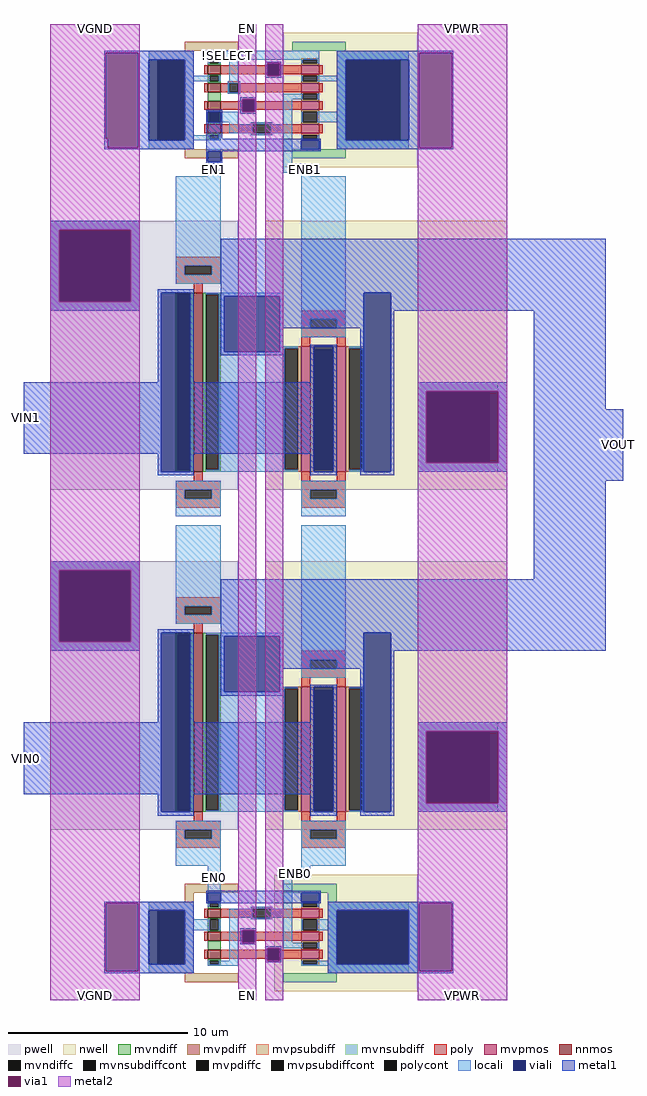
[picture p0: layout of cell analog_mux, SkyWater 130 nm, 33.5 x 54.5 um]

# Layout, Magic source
magic
tech sky130A
<< nwell >>
rect 1400 1950 2150 2700
rect 1350 -2650 2150 -2000
<< nnmos >>
rect 980 2470 1050 2520
rect 980 2370 1050 2420
rect 980 2270 1050 2320
rect 980 2140 1050 2190
rect 980 -2240 1050 -2190
rect 980 -2370 1050 -2320
rect 980 -2470 1050 -2420
<< mvpmos >>
rect 1500 2470 1600 2520
rect 1500 2370 1600 2420
rect 1500 2270 1600 2320
rect 1500 2140 1600 2190
rect 1500 -2240 1600 -2190
rect 1500 -2370 1600 -2320
rect 1500 -2470 1600 -2420
<< mvndiff >>
rect 980 2550 1050 2560
rect 980 2530 990 2550
rect 1040 2530 1050 2550
rect 980 2520 1050 2530
rect 980 2460 1050 2470
rect 980 2430 990 2460
rect 1040 2430 1050 2460
rect 980 2420 1050 2430
rect 980 2320 1050 2370
rect 980 2260 1050 2270
rect 980 2200 990 2260
rect 1040 2200 1050 2260
rect 980 2190 1050 2200
rect 980 2130 1050 2140
rect 980 2110 990 2130
rect 1040 2110 1050 2130
rect 980 2100 1050 2110
rect 980 -2160 1050 -2150
rect 980 -2180 990 -2160
rect 1040 -2180 1050 -2160
rect 980 -2190 1050 -2180
rect 980 -2250 1050 -2240
rect 980 -2310 990 -2250
rect 1040 -2310 1050 -2250
rect 980 -2320 1050 -2310
rect 980 -2420 1050 -2370
rect 980 -2480 1050 -2470
rect 980 -2500 990 -2480
rect 1040 -2500 1050 -2480
rect 980 -2510 1050 -2500
<< mvpdiff >>
rect 1500 2550 1600 2560
rect 1500 2530 1510 2550
rect 1590 2530 1600 2550
rect 1500 2520 1600 2530
rect 1500 2460 1600 2470
rect 1500 2430 1510 2460
rect 1590 2430 1600 2460
rect 1500 2420 1600 2430
rect 1500 2360 1600 2370
rect 1500 2330 1510 2360
rect 1590 2330 1600 2360
rect 1500 2320 1600 2330
rect 1500 2260 1600 2270
rect 1500 2200 1510 2260
rect 1590 2200 1600 2260
rect 1500 2190 1600 2200
rect 1500 2130 1600 2140
rect 1500 2110 1510 2130
rect 1590 2110 1600 2130
rect 1500 2100 1600 2110
rect 1500 -2160 1600 -2150
rect 1500 -2180 1510 -2160
rect 1590 -2180 1600 -2160
rect 1500 -2190 1600 -2180
rect 1500 -2250 1600 -2240
rect 1500 -2310 1510 -2250
rect 1590 -2310 1600 -2250
rect 1500 -2320 1600 -2310
rect 1500 -2380 1600 -2370
rect 1500 -2410 1510 -2380
rect 1590 -2410 1600 -2380
rect 1500 -2420 1600 -2410
rect 1500 -2480 1600 -2470
rect 1500 -2500 1510 -2480
rect 1590 -2500 1600 -2480
rect 1500 -2510 1600 -2500
<< mvndiffc >>
rect 990 2530 1040 2550
rect 990 2430 1040 2460
rect 990 2200 1040 2260
rect 990 2110 1040 2130
rect 990 -2180 1040 -2160
rect 990 -2310 1040 -2250
rect 990 -2500 1040 -2480
<< mvpdiffc >>
rect 1510 2530 1590 2550
rect 1510 2430 1590 2460
rect 1510 2330 1590 2360
rect 1510 2200 1590 2260
rect 1510 2110 1590 2130
rect 1510 -2180 1590 -2160
rect 1510 -2310 1590 -2250
rect 1510 -2410 1590 -2380
rect 1510 -2500 1590 -2480
<< mvpsubdiff >>
rect 850 2600 1150 2650
rect 650 2550 900 2600
rect 650 2100 700 2550
rect 850 2100 900 2550
rect 650 2050 900 2100
rect 850 2000 1150 2050
rect 850 -2100 1150 -2050
rect 850 -2150 900 -2100
rect 650 -2200 900 -2150
rect 650 -2500 700 -2200
rect 850 -2500 900 -2200
rect 650 -2550 900 -2500
rect 850 -2600 1150 -2550
<< mvnsubdiff >>
rect 1450 2600 1750 2650
rect 1700 2550 2100 2600
rect 1700 2100 1750 2550
rect 2050 2100 2100 2550
rect 1700 2050 2100 2100
rect 1450 2000 1750 2050
rect 1400 -2100 1700 -2050
rect 1650 -2150 1700 -2100
rect 1650 -2200 2100 -2150
rect 1650 -2500 1700 -2200
rect 1650 -2550 2100 -2500
rect 1400 -2600 1700 -2550
<< mvpsubdiffcont >>
rect 700 2100 850 2550
rect 700 -2500 850 -2200
<< mvnsubdiffcont >>
rect 1750 2100 2050 2550
rect 1700 -2500 2100 -2200
<< poly >>
rect 1310 2520 1380 2530
rect 960 2470 980 2520
rect 1050 2470 1320 2520
rect 1370 2470 1500 2520
rect 1600 2470 1620 2520
rect 1310 2460 1380 2470
rect 1090 2420 1160 2430
rect 960 2370 980 2420
rect 1050 2370 1100 2420
rect 1150 2370 1500 2420
rect 1600 2370 1620 2420
rect 1090 2360 1160 2370
rect 1170 2320 1240 2330
rect 960 2270 980 2320
rect 1050 2270 1180 2320
rect 1230 2270 1500 2320
rect 1600 2270 1620 2320
rect 1170 2260 1240 2270
rect 1220 2191 1340 2200
rect 1220 2190 1231 2191
rect 960 2140 980 2190
rect 1050 2141 1231 2190
rect 1331 2190 1340 2191
rect 1331 2141 1500 2190
rect 1050 2140 1500 2141
rect 1600 2140 1620 2190
rect 1220 2130 1340 2140
rect 1220 -2190 1340 -2180
rect 960 -2240 980 -2190
rect 1050 -2240 1230 -2190
rect 1330 -2240 1500 -2190
rect 1600 -2240 1620 -2190
rect 1220 -2250 1340 -2240
rect 1170 -2320 1240 -2310
rect 960 -2370 980 -2320
rect 1050 -2370 1180 -2320
rect 1230 -2370 1500 -2320
rect 1600 -2370 1620 -2320
rect 1170 -2380 1240 -2370
rect 1310 -2420 1380 -2410
rect 960 -2470 980 -2420
rect 1050 -2470 1320 -2420
rect 1370 -2470 1500 -2420
rect 1600 -2470 1620 -2420
rect 1310 -2480 1380 -2470
<< polycont >>
rect 1320 2470 1370 2520
rect 1100 2370 1150 2420
rect 1180 2270 1230 2320
rect 1231 2141 1331 2191
rect 1230 -2240 1330 -2190
rect 1180 -2370 1230 -2320
rect 1320 -2470 1370 -2420
<< locali >>
rect 650 2550 900 2600
rect 850 2460 900 2550
rect 980 2550 1600 2600
rect 980 2530 990 2550
rect 1040 2530 1050 2550
rect 850 2430 990 2460
rect 1040 2430 1050 2460
rect 1100 2430 1150 2550
rect 1500 2530 1510 2550
rect 1590 2530 1600 2550
rect 1700 2550 2100 2600
rect 1700 2460 1750 2550
rect 1500 2430 1510 2460
rect 1590 2430 1750 2460
rect 850 2130 900 2430
rect 1090 2420 1160 2430
rect 1090 2370 1100 2420
rect 1150 2370 1160 2420
rect 1090 2360 1160 2370
rect 1400 2330 1510 2360
rect 1590 2330 1600 2360
rect 1050 2200 1150 2260
rect 1100 2190 1150 2200
rect 1220 2191 1340 2200
rect 1220 2190 1231 2191
rect 1100 2141 1231 2190
rect 1331 2190 1340 2191
rect 1400 2190 1450 2330
rect 1700 2260 1750 2430
rect 1500 2200 1510 2260
rect 1590 2200 1750 2260
rect 1331 2141 1450 2190
rect 1100 2140 1450 2141
rect 1220 2130 1340 2140
rect 850 2110 990 2130
rect 1040 2110 1050 2130
rect 850 2100 1050 2110
rect 650 2050 900 2100
rect 980 2040 1050 2050
rect 980 1900 1050 1980
rect 1400 1970 1450 2140
rect 1500 2110 1510 2130
rect 1590 2110 1600 2130
rect 1500 2100 1600 2110
rect 1700 2100 1750 2200
rect 1700 2050 2100 2100
rect 1400 1920 1550 1970
rect 800 1850 1050 1900
rect 1500 1900 1550 1920
rect 1500 1850 1750 1900
rect 800 -1950 1050 -1900
rect 980 -2100 1050 -1950
rect 1500 -1950 1750 -1900
rect 1500 -1970 1550 -1950
rect 650 -2200 900 -2150
rect 980 -2160 1050 -2150
rect 980 -2180 990 -2160
rect 1040 -2180 1050 -2160
rect 1400 -2020 1550 -1970
rect 1220 -2190 1340 -2180
rect 1400 -2190 1450 -2020
rect 1500 -2160 1600 -2150
rect 1500 -2180 1510 -2160
rect 1590 -2180 1600 -2160
rect 850 -2250 900 -2200
rect 1100 -2240 1230 -2190
rect 1330 -2240 1450 -2190
rect 850 -2310 990 -2250
rect 1040 -2310 1050 -2250
rect 850 -2500 900 -2310
rect 1100 -2480 1150 -2240
rect 1220 -2250 1340 -2240
rect 1400 -2380 1450 -2240
rect 1650 -2200 2150 -2150
rect 1650 -2250 1700 -2200
rect 1500 -2310 1510 -2250
rect 1590 -2310 1700 -2250
rect 1400 -2410 1510 -2380
rect 1590 -2410 1600 -2380
rect 1650 -2480 1700 -2310
rect 650 -2550 900 -2500
rect 980 -2500 990 -2480
rect 1040 -2500 1150 -2480
rect 980 -2510 1150 -2500
rect 1500 -2500 1510 -2480
rect 1590 -2500 1700 -2480
rect 2100 -2500 2150 -2200
rect 1500 -2510 2150 -2500
rect 1650 -2550 2150 -2510
<< viali >>
rect 650 2100 700 2550
rect 700 2100 850 2550
rect 1310 2520 1380 2530
rect 1310 2470 1320 2520
rect 1320 2470 1370 2520
rect 1370 2470 1380 2520
rect 1310 2460 1380 2470
rect 1170 2320 1240 2330
rect 1170 2270 1180 2320
rect 1180 2270 1230 2320
rect 1230 2270 1240 2320
rect 1170 2260 1240 2270
rect 980 2200 990 2260
rect 990 2200 1040 2260
rect 1040 2200 1050 2260
rect 980 1980 1050 2040
rect 1500 2050 1600 2100
rect 1750 2100 2050 2550
rect 2050 2100 2100 2550
rect 980 -2150 1050 -2100
rect 1500 -2150 1600 -2100
rect 650 -2500 700 -2200
rect 700 -2500 850 -2200
rect 1170 -2320 1240 -2310
rect 1170 -2370 1180 -2320
rect 1180 -2370 1230 -2320
rect 1230 -2370 1240 -2320
rect 1170 -2380 1240 -2370
rect 1310 -2420 1380 -2410
rect 1310 -2470 1320 -2420
rect 1320 -2470 1370 -2420
rect 1370 -2470 1380 -2420
rect 1310 -2480 1380 -2470
rect 1700 -2500 2100 -2200
<< metal1 >>
rect 400 2590 900 2600
rect 400 2110 410 2590
rect 590 2550 900 2590
rect 400 2060 420 2110
rect 590 2100 650 2550
rect 850 2100 900 2550
rect 1700 2590 2350 2600
rect 1700 2550 2160 2590
rect 1300 2530 1390 2540
rect 1300 2460 1310 2530
rect 1380 2460 1390 2530
rect 1300 2450 1390 2460
rect 1160 2330 1250 2340
rect 590 2060 900 2100
rect 400 2050 900 2060
rect 970 2260 1060 2270
rect 970 2200 980 2260
rect 1050 2200 1060 2260
rect 1160 2260 1170 2330
rect 1240 2260 1250 2330
rect 1160 2250 1250 2260
rect 970 2110 1060 2200
rect 970 2100 1610 2110
rect 970 2050 1500 2100
rect 1600 2050 1610 2100
rect 1700 2100 1750 2550
rect 2100 2100 2160 2550
rect 1700 2060 2160 2100
rect 2340 2060 2350 2590
rect 1700 2050 2350 2060
rect 970 2040 1610 2050
rect 970 1980 980 2040
rect 1050 1980 1060 2040
rect 970 1970 1060 1980
rect 2750 1150 3200 1550
rect -50 350 0 750
rect 2800 600 3200 1150
rect 2800 200 3300 600
rect 2800 -350 3200 200
rect 2750 -750 3200 -350
rect -50 -1550 0 -1150
rect 970 -2100 1610 -2090
rect 970 -2150 980 -2100
rect 1050 -2150 1500 -2100
rect 1600 -2150 1610 -2100
rect 400 -2160 900 -2150
rect 970 -2160 1610 -2150
rect 1650 -2160 2350 -2150
rect 400 -2540 410 -2160
rect 590 -2200 900 -2160
rect 590 -2500 650 -2200
rect 850 -2500 900 -2200
rect 1650 -2200 2160 -2160
rect 1160 -2310 1250 -2300
rect 1160 -2380 1170 -2310
rect 1240 -2380 1250 -2310
rect 1160 -2390 1250 -2380
rect 1300 -2410 1390 -2400
rect 1300 -2480 1310 -2410
rect 1380 -2480 1390 -2410
rect 1300 -2490 1390 -2480
rect 590 -2540 900 -2500
rect 400 -2550 900 -2540
rect 1650 -2500 1700 -2200
rect 2100 -2500 2160 -2200
rect 1650 -2540 2160 -2500
rect 2340 -2540 2350 -2160
rect 1650 -2550 2350 -2540
<< via1 >>
rect 410 2110 590 2590
rect 420 2060 590 2110
rect 1310 2460 1380 2530
rect 1170 2260 1240 2330
rect 2160 2060 2340 2590
rect 410 -2540 590 -2160
rect 1170 -2380 1240 -2310
rect 1310 -2480 1380 -2410
rect 2160 -2540 2340 -2160
<< metal2 >>
rect 100 2590 600 2750
rect 100 2110 410 2590
rect 100 2060 420 2110
rect 590 2060 600 2590
rect 100 1850 600 2060
rect 1150 2330 1250 2750
rect 1150 2260 1170 2330
rect 1240 2260 1250 2330
rect 100 -50 600 0
rect 100 -2160 600 -1900
rect 100 -2540 410 -2160
rect 590 -2540 600 -2160
rect 100 -2700 600 -2540
rect 1150 -2310 1250 2260
rect 1150 -2380 1170 -2310
rect 1240 -2380 1250 -2310
rect 1150 -2700 1250 -2380
rect 1300 2530 1400 2750
rect 1300 2460 1310 2530
rect 1380 2460 1400 2530
rect 1300 -2410 1400 2460
rect 2150 2590 2650 2750
rect 2150 2060 2160 2590
rect 2340 2060 2650 2590
rect 2150 1850 2650 2060
rect 2150 -50 2650 0
rect 1300 -2480 1310 -2410
rect 1380 -2480 1400 -2410
rect 1300 -2700 1400 -2480
rect 2150 -2160 2650 -1900
rect 2150 -2540 2160 -2160
rect 2340 -2540 2650 -2160
rect 2150 -2700 2650 -2540
use analog_switch  analog_switch_1
transform 1 0 500 0 1 -1150
box -500 -750 2250 1100
use analog_switch  analog_switch_0
transform 1 0 500 0 1 750
box -500 -750 2250 1100
<< labels >>
rlabel locali 990 -2040 1040 -1990 1 EN0
rlabel locali 1450 -2010 1490 -1980 1 ENB0
rlabel locali 990 1910 1040 1960 1 EN1
rlabel locali 1510 1910 1540 1960 1 ENB1
rlabel metal2 100 2700 600 2750 1 VGND
port 1 n
rlabel metal1 -50 350 -20 750 1 VIN1
port 3 n
rlabel metal1 -50 -1550 -20 -1150 1 VIN0
port 4 n
rlabel metal1 3250 200 3300 600 1 VOUT
port 5 n
rlabel metal2 1150 2700 1250 2750 1 EN
port 6 n
rlabel metal2 1150 -2700 1250 -2650 1 EN
port 6 n
rlabel metal2 1300 -2700 1400 -2650 1 SELECT
port 7 n
rlabel metal2 1300 2700 1400 2750 1 SELECT
port 7 n
rlabel locali 1070 2560 1110 2590 1 !SELECT
rlabel metal2 100 -2700 600 -2650 1 VGND
port 1 n
rlabel metal2 2150 -2700 2650 -2650 1 VPWR
port 2 n
rlabel metal2 2150 2700 2650 2750 1 VPWR
port 2 n
<< end >>

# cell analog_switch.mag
magic
tech sky130A
<< nwell >>
rect 800 -600 2150 900
<< pwell >>
rect -400 -600 650 900
<< nnmos >>
rect 400 -500 450 500
<< mvpmos >>
rect 1000 -500 1050 200
rect 1200 -500 1250 200
<< mvndiff >>
rect 300 490 400 500
rect 300 -490 310 490
rect 380 -490 400 490
rect 300 -500 400 -490
rect 450 490 550 500
rect 450 -490 470 490
rect 540 -490 550 490
rect 450 -500 550 -490
<< mvpdiff >>
rect 900 190 1000 200
rect 900 -490 910 190
rect 980 -490 1000 190
rect 900 -500 1000 -490
rect 1050 180 1200 200
rect 1050 -490 1070 180
rect 1180 -490 1200 180
rect 1050 -500 1200 -490
rect 1250 190 1350 200
rect 1250 -490 1270 190
rect 1340 -490 1350 190
rect 1250 -500 1350 -490
<< mvndiffc >>
rect 310 -490 380 490
rect 470 -490 540 490
<< mvpdiffc >>
rect 910 -490 980 190
rect 1070 -490 1180 180
rect 1270 -490 1340 190
<< mvpsubdiff >>
rect -400 850 100 900
rect -400 450 -350 850
rect 50 450 100 850
rect -400 400 100 450
<< mvnsubdiff >>
rect 1650 -50 2100 0
rect 1650 -450 1700 -50
rect 2050 -450 2100 -50
rect 1650 -500 2100 -450
<< mvpsubdiffcont >>
rect -350 450 50 850
<< mvnsubdiffcont >>
rect 1700 -450 2050 -50
<< poly >>
rect 300 650 550 700
rect 300 600 350 650
rect 500 600 550 650
rect 300 550 550 600
rect 400 500 450 550
rect 1000 350 1250 400
rect 1000 300 1050 350
rect 1200 300 1250 350
rect 1000 250 1250 300
rect 1000 200 1050 250
rect 1200 200 1250 250
rect 400 -550 450 -500
rect 1000 -550 1050 -500
rect 1200 -550 1250 -500
rect 300 -600 550 -550
rect 300 -650 350 -600
rect 500 -650 550 -600
rect 300 -700 550 -650
rect 1000 -600 1250 -550
rect 1000 -650 1050 -600
rect 1200 -650 1250 -600
rect 1000 -700 1250 -650
<< polycont >>
rect 350 600 500 650
rect 1050 300 1200 350
rect 350 -650 500 -600
rect 1050 -650 1200 -600
<< locali >>
rect -400 850 100 900
rect -400 450 -350 850
rect 50 450 100 850
rect 300 650 550 1100
rect 300 600 350 650
rect 500 600 550 650
rect 300 550 550 600
rect -400 400 100 450
rect 470 490 900 500
rect 540 480 900 490
rect 540 170 570 480
rect 880 200 900 480
rect 1000 350 1250 1100
rect 1000 300 1050 350
rect 1200 300 1250 350
rect 1000 250 1250 300
rect 880 190 980 200
rect 880 170 910 190
rect 540 -490 910 170
rect 470 -500 980 -490
rect 1270 190 1350 200
rect 1340 -490 1350 190
rect 1270 -500 1350 -490
rect 1650 -50 2150 0
rect 1650 -450 1700 -50
rect 2100 -450 2150 -50
rect 1650 -500 2150 -450
rect 300 -600 550 -550
rect 300 -650 350 -600
rect 500 -650 550 -600
rect 300 -750 550 -650
rect 1000 -600 1250 -550
rect 1000 -650 1050 -600
rect 1200 -650 1250 -600
rect 1000 -750 1250 -650
<< viali >>
rect -350 450 50 850
rect 220 490 380 500
rect 220 -490 310 490
rect 310 -490 380 490
rect 220 -500 380 -490
rect 570 170 880 480
rect 1070 180 1180 200
rect 1070 -490 1180 180
rect 1070 -500 1180 -490
rect 1350 -500 1500 500
rect 1700 -450 2050 -50
rect 2050 -450 2100 -50
<< metal1 >>
rect -400 850 100 900
rect -400 450 -350 850
rect 50 450 100 850
rect -400 400 100 450
rect 200 500 400 520
rect 200 0 220 500
rect -500 -400 220 0
rect 200 -500 220 -400
rect 380 0 400 500
rect 550 500 2250 800
rect 550 480 1350 500
rect 550 170 570 480
rect 880 300 1350 480
rect 880 170 900 300
rect 550 150 900 170
rect 1050 200 1200 210
rect 1050 0 1070 200
rect 380 -400 1070 0
rect 380 -500 400 -400
rect 200 -520 400 -500
rect 1050 -500 1070 -400
rect 1180 -500 1200 200
rect 1050 -520 1200 -500
rect 1330 -500 1350 300
rect 1500 400 2250 500
rect 1500 -500 1520 400
rect 1650 -50 2150 0
rect 1650 -450 1700 -50
rect 2100 -450 2150 -50
rect 1650 -500 2150 -450
rect 1330 -520 1520 -500
<< via1 >>
rect -350 450 50 850
rect 1700 -450 2100 -50
<< metal2 >>
rect -400 850 100 1100
rect -400 450 -350 850
rect 50 450 100 850
rect -400 -750 100 450
rect 1650 -50 2150 1100
rect 1650 -450 1700 -50
rect 2100 -450 2150 -50
rect 1650 -750 2150 -450
<< labels >>
rlabel metal1 2200 400 2250 800 1 VOUT
port 1 n
rlabel metal1 -500 -400 -450 0 1 VIN
port 2 n
rlabel locali 300 1050 550 1100 1 EN
port 3 n
rlabel locali 1000 1050 1250 1100 1 ENB
port 4 n
rlabel metal2 1650 1050 2150 1100 1 VDD3v3
port 5 n
rlabel metal2 -400 1050 100 1100 1 VGND
port 6 n
rlabel metal2 -400 -750 100 -700 1 VGND
port 6 n
rlabel metal2 1650 -750 2150 -700 1 VDD3v3
port 5 n
rlabel locali 300 -750 550 -700 1 EN
port 3 n
rlabel locali 1000 -750 1250 -700 1 ENB
port 4 n
<< end >>
